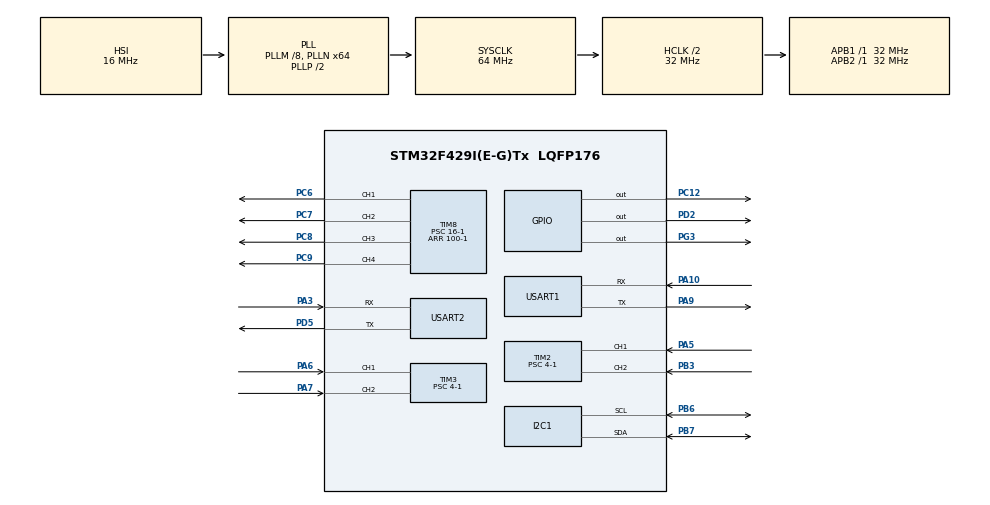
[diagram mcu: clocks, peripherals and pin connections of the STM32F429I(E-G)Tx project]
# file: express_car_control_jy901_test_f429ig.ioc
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Dma.I2C1_RX.0.Direction=DMA_PERIPH_TO_MEMORY
Dma.I2C1_RX.0.FIFOMode=DMA_FIFOMODE_DISABLE
Dma.I2C1_RX.0.Instance=DMA1_Stream0
Dma.I2C1_RX.0.MemDataAlignment=DMA_MDATAALIGN_BYTE
Dma.I2C1_RX.0.MemInc=DMA_MINC_ENABLE
Dma.I2C1_RX.0.Mode=DMA_NORMAL
Dma.I2C1_RX.0.PeriphDataAlignment=DMA_PDATAALIGN_BYTE
Dma.I2C1_RX.0.PeriphInc=DMA_PINC_DISABLE
Dma.I2C1_RX.0.Priority=DMA_PRIORITY_MEDIUM
Dma.Request0=I2C1_RX
Mcu.Family=STM32F4
Mcu.Name=STM32F429I(E-G)Tx
Mcu.Package=LQFP176
NVIC.DMA1_Stream0_IRQn=true\:0\:0\:false\:false\:true\:false
NVIC.PriorityGroup=NVIC_PRIORITYGROUP_4
NVIC.TIM4_IRQn=true\:0\:0\:false\:false\:true\:true
NVIC.USART1_IRQn=true\:0\:0\:false\:false\:true\:true
PA10.Mode=Asynchronous
PA10.Signal=USART1_RX
PA3.Mode=Asynchronous
PA3.Signal=USART2_RX
PA5.Signal=S_TIM2_CH1_ETR
PA6.Signal=S_TIM3_CH1
PA7.Signal=S_TIM3_CH2
PA9.Mode=Asynchronous
PA9.Signal=USART1_TX
PB3.Signal=S_TIM2_CH2
PB6.Mode=I2C
PB6.Signal=I2C1_SCL
PB7.Mode=I2C
PB7.Signal=I2C1_SDA
PC12.GPIO_ModeDefaultOutputPP=GPIO_MODE_OUTPUT_OD
PC12.GPIO_PuPd=GPIO_PULLUP
PC12.PinState=GPIO_PIN_SET
PC12.Signal=GPIO_Output
PC6.Signal=S_TIM8_CH1
PC7.Signal=S_TIM8_CH2
PC8.Signal=S_TIM8_CH3
PC9.Signal=S_TIM8_CH4
PD2.GPIO_ModeDefaultOutputPP=GPIO_MODE_OUTPUT_OD
PD2.GPIO_PuPd=GPIO_PULLUP
PD2.PinState=GPIO_PIN_SET
PD2.Signal=GPIO_Output
PD5.Mode=Asynchronous
PD5.Signal=USART2_TX
PG3.GPIO_ModeDefaultOutputPP=GPIO_MODE_OUTPUT_OD
PG3.GPIO_PuPd=GPIO_PULLUP
PG3.PinState=GPIO_PIN_SET
PG3.Signal=GPIO_Output
ProjectManager.HeapSize=0x200
ProjectManager.StackSize=0x400
ProjectManager.TargetToolchain=MDK-ARM V5
RCC.48MHZClocksFreq_Value=32000000
RCC.AHBCLKDivider=RCC_SYSCLK_DIV2
RCC.AHBFreq_Value=32000000
RCC.APB1Freq_Value=32000000
RCC.APB1TimFreq_Value=32000000
RCC.APB2Freq_Value=32000000
RCC.APB2TimFreq_Value=32000000
RCC.CortexFreq_Value=32000000
RCC.HCLKFreq_Value=32000000
RCC.HSE_VALUE=25000000
RCC.HSI_VALUE=16000000
RCC.LSE_VALUE=32768
RCC.PLLM=8
RCC.PLLN=64
RCC.SYSCLKFreq_VALUE=64000000
RCC.SYSCLKSource=RCC_SYSCLKSOURCE_PLLCLK
RCC.VCOOutputFreq_Value=128000000
SH.S_TIM2_CH1_ETR.0=TIM2_CH1,Encoder_Interface
SH.S_TIM2_CH2.0=TIM2_CH2,Encoder_Interface
SH.S_TIM3_CH1.0=TIM3_CH1,Encoder_Interface
SH.S_TIM3_CH2.0=TIM3_CH2,Encoder_Interface
SH.S_TIM8_CH1.0=TIM8_CH1,PWM Generation1 CH1
SH.S_TIM8_CH2.0=TIM8_CH2,PWM Generation2 CH2
SH.S_TIM8_CH3.0=TIM8_CH3,PWM Generation3 CH3
SH.S_TIM8_CH4.0=TIM8_CH4,PWM Generation4 CH4
TIM2.EncoderMode=TIM_ENCODERMODE_TI12
TIM2.Period=65536-1
TIM2.Prescaler=4-1
TIM3.EncoderMode=TIM_ENCODERMODE_TI12
TIM3.Period=65536-1
TIM3.Prescaler=4-1
TIM4.Period=10000-1
TIM4.Prescaler=32-1
TIM8.Channel-PWM\ Generation1\ CH1=TIM_CHANNEL_1
TIM8.Channel-PWM\ Generation2\ CH2=TIM_CHANNEL_2
TIM8.Channel-PWM\ Generation3\ CH3=TIM_CHANNEL_3
TIM8.Channel-PWM\ Generation4\ CH4=TIM_CHANNEL_4
TIM8.Period=100-1
TIM8.Prescaler=16-1
USART1.VirtualMode=VM_ASYNC
USART2.VirtualMode=VM_ASYNC
VP_TIM4_VS_ClockSourceINT.Mode=Internal
board=custom

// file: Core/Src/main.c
/**
  ******************************************************************************
  * @file           : main.c
  * @brief          : Main program body
  ******************************************************************************
  ** This notice applies to any and all portions of this file
  * that are not between comment pairs USER CODE BEGIN and
  * USER CODE END. Other portions of this file, whether
  * inserted by the user or by software development tools
  * are owned by their respective copyright owners.
  *
  * COPYRIGHT(c) 2018 STMicroelectronics
  *
  * Redistribution and use in source and binary forms, with or without modification,
  * are permitted provided that the following conditions are met:
  *   1. Redistributions of source code must retain the above copyright notice,
  *      this list of conditions and the following disclaimer.
  *   2. Redistributions in binary form must reproduce the above copyright notice,
  *      this list of conditions and the following disclaimer in the documentation
  *      and/or other materials provided with the distribution.
  *   3. Neither the name of STMicroelectronics nor the names of its contributors
  *      may be used to endorse or promote products derived from this software
  *      without specific prior written permission.
  *
  * THIS SOFTWARE IS PROVIDED BY THE COPYRIGHT HOLDERS AND CONTRIBUTORS "AS IS"
  * AND ANY EXPRESS OR IMPLIED WARRANTIES, INCLUDING, BUT NOT LIMITED TO, THE
  * IMPLIED WARRANTIES OF MERCHANTABILITY AND FITNESS FOR A PARTICULAR PURPOSE ARE
  * DISCLAIMED. IN NO EVENT SHALL THE COPYRIGHT HOLDER OR CONTRIBUTORS BE LIABLE
  * FOR ANY DIRECT, INDIRECT, INCIDENTAL, SPECIAL, EXEMPLARY, OR CONSEQUENTIAL
  * DAMAGES (INCLUDING, BUT NOT LIMITED TO, PROCUREMENT OF SUBSTITUTE GOODS OR
  * SERVICES; LOSS OF USE, DATA, OR PROFITS; OR BUSINESS INTERRUPTION) HOWEVER
  * CAUSED AND ON ANY THEORY OF LIABILITY, WHETHER IN CONTRACT, STRICT LIABILITY,
  * OR TORT (INCLUDING NEGLIGENCE OR OTHERWISE) ARISING IN ANY WAY OUT OF THE USE
  * OF THIS SOFTWARE, EVEN IF ADVISED OF THE POSSIBILITY OF SUCH DAMAGE.
  *
  ******************************************************************************
  */
#include "main.h"
#include "stm32f4xx_hal.h"
#include "dma.h"
#include "i2c.h"
#include "tim.h"
#include "usart.h"
#include "gpio.h"

/* USER CODE BEGIN Includes */
#include "math.h"
#include "bsp_serial_print.h"
#include "bsp_i2c.h"
#include "bsp_moto_drive.h"
#include "bsp_control.h"
#include "bsp_move.h"
#include "bsp_uart.h"
/* USER CODE END Includes */

/* USER CODE BEGIN PV */

uint8_t imu_data[24];          //记录imu元数据
uint8_t raw_height[2];
float acc[3];                  //imu加速度
float omiga[3];                //imu角速度
float magnetic[3];
float angle[3];                //imu角度
float height;                  //imu高度
float omiga_z;                 //z轴角速度
int_u8_union rx_spd;           //串口接受的数据,控制电机转速
//double_u8_union tx_linear,tx_angular;
tx_message tx_msg;
uint8_t rx_ctrl_msg[4];

extern moto_pid bsp_pid[2];     //pid结构体
int set_spd[2]={0, 0};//设定速度 13*51表示 1 r/s
double last_encoder[2]={0,0};    //记录上次编码器数值，滤波
double now_encoder[2];					 //记录当前编码器数值，滤波
double current_spd[2];           //
double last_spd[2];              //
double speed_lpf[2];             //滤波后的速度

float lpf_index = 0.18;          //越小，越平滑，但是相应越man  lpf=0.25
double move_target_spd=300;

uint8_t msg[4]={0x00,0x01,0x02,0x03};
uint8_t cnt=0;                   //控制频率  T=cnt*1ms
uint8_t control_period=6;
uint8_t set_pwm_period=1;
uint8_t init_flags=1;
/* Private variables ---------------------------------------------------------*/

/* USER CODE END PV */

void SystemClock_Config(void);

/* USER CODE BEGIN PFP */
/* Private function prototypes -----------------------------------------------*/

/* USER CODE END PFP */

int main(void)
{

  /* MCU Configuration----------------------------------------------------------*/

  /* Reset of all peripherals, Initializes the Flash interface and the Systick. */
  HAL_Init();

  /* Configure the system clock */
  SystemClock_Config();

  /* Initialize all configured peripherals */
  MX_GPIO_Init();
  MX_DMA_Init();
  MX_USART1_UART_Init();
  MX_I2C1_Init();
  MX_USART2_UART_Init();
  MX_TIM8_Init();
  MX_TIM3_Init();
  MX_TIM2_Init();
  MX_TIM4_Init();
  /* USER CODE BEGIN 2 */

	HAL_TIM_Encoder_Start(&htim3,TIM_CHANNEL_ALL);//电机1的编码器
	HAL_Delay(5);
	HAL_TIM_Encoder_Start(&htim2,TIM_CHANNEL_ALL);//电机2的编码器
	HAL_TIM_Base_Start_IT(&htim4);//定时器中断
	HAL_TIM_PWM_Start(&htim8,TIM_CHANNEL_1);//PWM输出
	HAL_TIM_PWM_Start(&htim8,TIM_CHANNEL_2);//PWM输出
	HAL_TIM_PWM_Start(&htim8,TIM_CHANNEL_3);//PWM输出
	HAL_TIM_PWM_Start(&htim8,TIM_CHANNEL_4);//PWM输出
	//PID初始�?
	BSP_Pid_Init(&bsp_pid[0],pid_id_1,5.0,1,1.1);
	BSP_Pid_Init(&bsp_pid[1],pid_id_2,5.0,1,1.1);
	//p=0.3,i=0.08 at7:30

	HAL_Delay(10);

	//MOVE_FORWARD;

	//printf("working...\n");
	HAL_GPIO_WritePin(GPIOC,GPIO_PIN_12,GPIO_PIN_SET);
	HAL_GPIO_WritePin(GPIOD,GPIO_PIN_2,GPIO_PIN_RESET);
	HAL_UART_Receive_IT(&huart1,(uint8_t *)&rx_ctrl_msg[0],4);
	//rx_spd.spd_int=-800;
  /* USER CODE END 2 */

  /* Infinite loop */
  /* USER CODE BEGIN WHILE */
  while (1)
  {
		//printf("%.2lf,%.2lf,%.2lf,%.2lf,%.2f\n",current_spd[moto_ID_2],speed_lpf[moto_ID_2],speed_lpf[moto_ID_2] - bsp_pid[moto_ID_2].target,bsp_pid[moto_ID_2].target,bsp_pid[moto_ID_2].out);
		//printf("%.2f,%.2f,%.2f,%d.\n",speed_lpf[moto_ID_1],speed_lpf[moto_ID_2],bsp_pid[0].target,0);
		//HAL_UART_Transmit(&huart1,(uint8_t *)&rx_spd.spd_uch[0],sizeof(rx_spd),50);
//		test OK
//		printf("start...\n");
//		HAL_I2C_Mem_Read(&hi2c1,IMU_ADDRESS,0x34,I2C_MEMADD_SIZE_8BIT,imu_data,24,50);
//		//printf("roll:%d pitch:%d yaw:%d.\n",imu_data[6],imu_data[8],imu_data[10]);
//
//		acc[0]=(float)BSP_I2C_CharToShort(&imu_data[0])/32678*16*9.8;
//		acc[1]=(float)BSP_I2C_CharToShort(&imu_data[2])/32678*16*9.8;
//		acc[2]=(float)BSP_I2C_CharToShort(&imu_data[4])/32678*16*9.8;
//		printf("acc_x: %f    acc_y: %f    acc_z:%f.\n",acc[0],acc[1],acc[2]);
//
//		omiga[0]=(float)BSP_I2C_CharToShort(&imu_data[6])/32678*2000;
//		omiga[1]=(float)BSP_I2C_CharToShort(&imu_data[8])/32678*2000;
//		omiga[2]=(float)BSP_I2C_CharToShort(&imu_data[10])/32678*2000;
//		printf("omiga_x: %f    omiga_y: %f    omiga_z:%f.\n",omiga[0],omiga[1],omiga[2]);
//
//		magnetic[0]=(float)BSP_I2C_CharToShort(&imu_data[12]);
//		magnetic[1]=(float)BSP_I2C_CharToShort(&imu_data[14]);
//		magnetic[2]=(float)BSP_I2C_CharToShort(&imu_data[16]);
//		printf("magnetic_x: %f    magnetic_y: %f    magnetic_z:%f.\n",magnetic[0],magnetic[1],magnetic[2]);
//
//		angle[0] = (float)BSP_I2C_CharToShort(&imu_data[18])/32768*180;
//	  angle[1] = (float)BSP_I2C_CharToShort(&imu_data[20])/32768*180;
//    angle[2] = (float)BSP_I2C_CharToShort(&imu_data[22])/32768*180;
//		printf("roll: %f    pitch: %f    yaw: %f.\n",angle[0],angle[1],angle[2]);
//
//		printf("end...\n");
//		HAL_Delay(500);

//		Let us try to plot a heart

//    for(float i=-2;i<2;i+=0.01)
//    {
//        float y1=sqrt(2*sqrt(i*i)-i*i);
//        float y2=asin(sqrt(i*i)-1)-3.1416/2;
//        float y3=sqrt(sqrt(i*i))-sqrt(cos(i))*cos(60*i);
//        if(i>1.57||i<-1.57)
//        {
//            y3=1.2;
//        }
//        printf("%f\n",y3);
//				//printf("%f,%f\n",y1,y2);
//        HAL_Delay(5);
//    }

//		get height...test error
//		HAL_I2C_Mem_Read(&hi2c1,IMU_ADDRESS,0x47,I2C_MEMADD_SIZE_8BIT,raw_height,2,50);
//		height=(float)BSP_I2C_CharToShort(&raw_height[0]);
//		printf("%f.\n",height);
//		HAL_Delay(500);

		//current_spd[0]=BSP_Moto_GetSpeed(&htim1);
		//BSP_PWM_SetValue(&htim9,TIM_CHANNEL_1,1000*3-1);
		//printf("OK.\n");
		//HAL_Delay(500);

		//HAL_UART_Receive_IT(&huart1,(uint8_t *)&rx_ctrl_msg[0],sizeof(rx_ctrl_msg));

		HAL_I2C_Mem_Read(&hi2c1,IMU_ADDRESS,0x34,I2C_MEMADD_SIZE_8BIT,imu_data,24,50);
		omiga_z=(float)BSP_I2C_CharToShort(&imu_data[10])/32678*2000/180*3.142;
//		HAL_Delay(10);
//		angle[0] = (float)BSP_I2C_CharToShort(&imu_data[18])/32768*180;
//		angle[1] = (float)BSP_I2C_CharToShort(&imu_data[20])/32768*180;
//		angle[2] = (float)BSP_I2C_CharToShort(&imu_data[22])/32768*180;
//		printf("roll: %.2f    pitch: %.2f    yaw: %.2f.\n",angle[0],angle[1],angle[2]);

		tx_msg.head=0x01;
		tx_msg.angular.data_float=omiga_z;
		tx_msg.linear.data_float=(float)(current_spd[moto_ID_1]+current_spd[moto_ID_2])/13.0/51.0/2.0*125*3.142/180;
		BSP_UART_Transmit(&tx_msg);
		//printf("angular:%.2f,  linear:%.2f.\n",tx_msg.angular.data_float,tx_msg.linear.data_float);
		HAL_Delay(100);
  /* USER CODE END WHILE */

  }

}

void SystemClock_Config(void)
{

  RCC_OscInitTypeDef RCC_OscInitStruct;
  RCC_ClkInitTypeDef RCC_ClkInitStruct;

    /**Configure the main internal regulator output voltage
    */
  __HAL_RCC_PWR_CLK_ENABLE();

  __HAL_PWR_VOLTAGESCALING_CONFIG(PWR_REGULATOR_VOLTAGE_SCALE3);

    /**Initializes the CPU, AHB and APB busses clocks
    */
  RCC_OscInitStruct.OscillatorType = RCC_OSCILLATORTYPE_HSI;
  RCC_OscInitStruct.HSIState = RCC_HSI_ON;
  RCC_OscInitStruct.HSICalibrationValue = 16;
  RCC_OscInitStruct.PLL.PLLState = RCC_PLL_ON;
  RCC_OscInitStruct.PLL.PLLSource = RCC_PLLSOURCE_HSI;
  RCC_OscInitStruct.PLL.PLLM = 8;
  RCC_OscInitStruct.PLL.PLLN = 64;
  RCC_OscInitStruct.PLL.PLLP = RCC_PLLP_DIV2;
  RCC_OscInitStruct.PLL.PLLQ = 4;
  if (HAL_RCC_OscConfig(&RCC_OscInitStruct) != HAL_OK)
  {
    _Error_Handler(__FILE__, __LINE__);
  }

    /**Initializes the CPU, AHB and APB busses clocks
    */
  RCC_ClkInitStruct.ClockType = RCC_CLOCKTYPE_HCLK|RCC_CLOCKTYPE_SYSCLK
                              |RCC_CLOCKTYPE_PCLK1|RCC_CLOCKTYPE_PCLK2;
  RCC_ClkInitStruct.SYSCLKSource = RCC_SYSCLKSOURCE_PLLCLK;
  RCC_ClkInitStruct.AHBCLKDivider = RCC_SYSCLK_DIV2;
  RCC_ClkInitStruct.APB1CLKDivider = RCC_HCLK_DIV1;
  RCC_ClkInitStruct.APB2CLKDivider = RCC_HCLK_DIV1;

  if (HAL_RCC_ClockConfig(&RCC_ClkInitStruct, FLASH_LATENCY_1) != HAL_OK)
  {
    _Error_Handler(__FILE__, __LINE__);
  }

    /**Configure the Systick interrupt time
    */
  HAL_SYSTICK_Config(HAL_RCC_GetHCLKFreq()/1000);

    /**Configure the Systick
    */
  HAL_SYSTICK_CLKSourceConfig(SYSTICK_CLKSOURCE_HCLK);

  /* SysTick_IRQn interrupt configuration */
  HAL_NVIC_SetPriority(SysTick_IRQn, 0, 0);
}

/* USER CODE BEGIN 4 */
void HAL_TIM_PeriodElapsedCallback(TIM_HandleTypeDef *htim)
{
	if (htim->Instance == TIM4)
	{

		BSP_Pid_SetTarget(&bsp_pid[0],set_spd[0]);
		BSP_Pid_SetTarget(&bsp_pid[1],set_spd[1]);
		//HAL_UART_Transmit(&huart1,&msg[2],2,50);

		if(cnt==control_period)
		{

			/****************************/
			//当前编码器数值的变化
			now_encoder[moto_ID_1] = (BSP_Moto_GetValue(moto_ID_1)-last_encoder[moto_ID_1])*(100 / cnt);
			now_encoder[moto_ID_2] = (BSP_Moto_GetValue(moto_ID_2)-last_encoder[moto_ID_2])*(100 / cnt);
			//滤去 越过65536时编码器的数据
			if(now_encoder[moto_ID_1] > -20000 && now_encoder[moto_ID_1] < 20000)
					current_spd[moto_ID_1]=now_encoder[moto_ID_1];
			if(now_encoder[moto_ID_2] > -20000 && now_encoder[moto_ID_2] < 20000)
					current_spd[moto_ID_2]=now_encoder[moto_ID_2];

			//编码器速度滤波
			speed_lpf[moto_ID_1] = lpf_index * current_spd[moto_ID_1] + (1-lpf_index) * last_spd[moto_ID_1];
			speed_lpf[moto_ID_2] = lpf_index * current_spd[moto_ID_2] + (1-lpf_index) * last_spd[moto_ID_2];
			last_spd[moto_ID_1] =  speed_lpf[moto_ID_1];
			last_spd[moto_ID_2] =  speed_lpf[moto_ID_2];
			//记录 当前编码器数据 作为 下次读取时 的 上次数据
			last_encoder[moto_ID_1]=BSP_Moto_GetValue(moto_ID_1);
			last_encoder[moto_ID_2]=BSP_Moto_GetValue(moto_ID_2);

			//将滤波后的速度传入pid
			BSP_Pid_SetCurrent(&bsp_pid[moto_ID_1],speed_lpf[moto_ID_1]);
			BSP_Pid_SetCurrent(&bsp_pid[moto_ID_2],speed_lpf[moto_ID_2]);
			//pid计算
			BSP_Pid_calculate(&bsp_pid[moto_ID_1]);
			BSP_Pid_calculate(&bsp_pid[moto_ID_2]);
			//驱动
			//BSP_Moto_Control(40,40);
			//BSP_PWM_SetValue(&htim8,TIM_CHANNEL_1,2000);
			//BSP_Moto_Control(bsp_pid[moto_ID_1].out,bsp_pid[moto_ID_2].out);
			HAL_UART_Receive_IT(&huart1,(uint8_t *)&rx_ctrl_msg[0],4);
			cnt=0;
			/*****************************/

			//printf("%d,%d,%d,%d,%d\n",current_spd[0], current_spd[1],bsp_pid[moto_ID_1].out, bsp_pid[moto_ID_2].out,13*51);
//			printf("pid :\n	err:%d,err_last:%d,err_pre:%d.\n	p:%d,i:%d,d:%d.\n",bsp_pid[moto_ID_1].err,bsp_pid[moto_ID_1].last_err,bsp_pid[moto_ID_1].pre_err,
//															bsp_pid[moto_ID_1].proportion,bsp_pid[moto_ID_2].integer,bsp_pid[moto_ID_1].differential);
//			printf("pwm: %d.\n",bsp_pid[moto_ID_1].out);
			//HAL_UART_Transmit(&huart1,msg,2,50);
		}

		BSP_Moto_SpeedControlOutput(&bsp_pid[moto_ID_1],cnt);
		BSP_Moto_SpeedControlOutput(&bsp_pid[moto_ID_2],cnt);
		BSP_Moto_Control(bsp_pid[moto_ID_1].out,bsp_pid[moto_ID_2].out);

		cnt++;
	}
}

void HAL_UART_RxCpltCallback(UART_HandleTypeDef *huart)
{
	if(huart->Instance==USART1)
	{
		//printf("%d.\n",rx_spd.spd_int);
		//printf("UART_RECEIVE_IT\n");
		switch(BSP_Compare_Msg((uint8_t *)&rx_ctrl_msg[0]))
		//switch(rx_ctrl_msg[0])
		{
			case 0x00:
				STOP;break;
			case 0x01:
				MOVE_FORWARD(move_target_spd);break;
			case 0x02:
				MOVE_BACK(move_target_spd);break;
			case 0x03:
				TURN_LEFT(move_target_spd);break;
			case 0x04:
				TURN_RIGHT(move_target_spd);break;
		}

		HAL_UART_Receive_IT(&huart1,(uint8_t *)&rx_ctrl_msg[0],4);

	}
}
/* USER CODE END 4 */

void _Error_Handler(char *file, int line)
{
  while(1)
  {
  }
}

/************************ (C) COPYRIGHT STMicroelectronics *****END OF FILE****/
